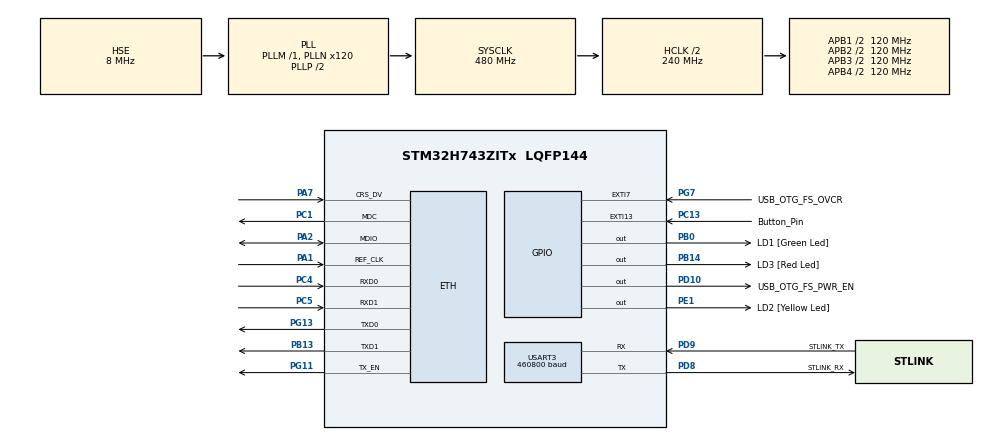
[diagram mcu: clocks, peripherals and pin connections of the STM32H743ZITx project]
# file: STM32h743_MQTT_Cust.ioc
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CORTEX_M7.AccessPermission-Cortex_Memory_Protection_Unit_Region0_Settings=MPU_REGION_FULL_ACCESS
CORTEX_M7.BaseAddress-Cortex_Memory_Protection_Unit_Region0_Settings=0x30000000
CORTEX_M7.CPU_DCache=Enabled
CORTEX_M7.CPU_ICache=Enabled
CORTEX_M7.DisableExec-Cortex_Memory_Protection_Unit_Region0_Settings=MPU_INSTRUCTION_ACCESS_DISABLE
CORTEX_M7.Enable-Cortex_Memory_Protection_Unit_Region0_Settings=MPU_REGION_ENABLE
CORTEX_M7.IsShareable-Cortex_Memory_Protection_Unit_Region0_Settings=MPU_ACCESS_SHAREABLE
CORTEX_M7.MPU_Control=MPU_PRIVILEGED_DEFAULT
CORTEX_M7.Size-Cortex_Memory_Protection_Unit_Region0_Settings=MPU_REGION_SIZE_32KB
CORTEX_M7.TypeExtField-Cortex_Memory_Protection_Unit_Region0_Settings=MPU_TEX_LEVEL1
ETH.MACAddr=00\:80\:E1\:00\:00\:22
ETH.MediaInterface=HAL_ETH_RMII_MODE
ETH.RxBuffAddress=0x30000200
ETH.RxDescAddress=0x30000000
ETH.TxDescAddress=0x30000080
LWIP.BSP.number=1
LWIP.GATEWAY_ADDRESS=192.168.000.001
LWIP.IP_ADDRESS=192.168.000.153
LWIP.LWIP_ALTCP=0
LWIP.LWIP_ALTCP_TLS=0
LWIP.LWIP_DHCP=0
LWIP.LWIP_RAM_HEAP_POINTER=0x30002000
LWIP.MEMP_NUM_SYS_TIMEOUT=4
LWIP.MEMP_NUM_TCP_PCB=5
LWIP.MEM_SIZE=10*1024
LWIP.NETMASK_ADDRESS=255.255.255.000
LWIP.Version=v2.1.2_Cube
LWIP0.BSP.STBoard=false
LWIP0.BSP.api=BSP_COMPONENT_DRIVER
LWIP0.BSP.component=LAN8742
LWIP0.BSP.i2caddr=0
LWIP0.BSP.instance=LAN8742
LWIP0.BSP.name=Driver_PHY
LWIP0.BSP.solution=LAN8742
Mcu.Family=STM32H7
Mcu.Name=STM32H743ZITx
Mcu.Package=LQFP144
NVIC.ETH_IRQn=true\:0\:0\:false\:false\:true\:true\:true
NVIC.EXTI15_10_IRQn=true\:0\:0\:false\:false\:true\:true\:true
NVIC.PriorityGroup=NVIC_PRIORITYGROUP_4
NVIC.TIM2_IRQn=true\:0\:0\:false\:false\:true\:true\:true
NVIC.TIM3_IRQn=true\:0\:0\:false\:false\:true\:true\:true
NVIC.TIM4_IRQn=true\:0\:0\:false\:false\:true\:true\:true
NVIC.TIM5_IRQn=true\:0\:0\:false\:false\:true\:true\:true
PA1.GPIO_Speed=GPIO_SPEED_FREQ_VERY_HIGH
PA1.Mode=RMII
PA1.Signal=ETH_REF_CLK
PA11.Signal=USB_OTG_FS_DM
PA12.Signal=USB_OTG_FS_DP
PA2.GPIO_Speed=GPIO_SPEED_FREQ_VERY_HIGH
PA2.Mode=RMII
PA2.Signal=ETH_MDIO
PA7.GPIO_Speed=GPIO_SPEED_FREQ_VERY_HIGH
PA7.Mode=RMII
PA7.Signal=ETH_CRS_DV
PA8.Signal=USB_OTG_FS_SOF
PA9.Signal=USB_OTG_FS_VBUS
PB0.GPIO_Label=LD1 [Green Led]
PB0.Signal=GPIO_Output
PB13.GPIO_Speed=GPIO_SPEED_FREQ_VERY_HIGH
PB13.Mode=RMII
PB13.Signal=ETH_TXD1
PB14.GPIO_Label=LD3 [Red Led]
PB14.Signal=GPIO_Output
PC1.Mode=RMII
PC1.Signal=ETH_MDC
PC13.GPIO_Label=Button_Pin
PC13.Signal=GPXTI13
PC14-OSC32_IN\ (OSC32_IN).Signal=RCC_OSC32_IN
PC15-OSC32_OUT\ (OSC32_OUT).Signal=RCC_OSC32_OUT
PC4.GPIO_Speed=GPIO_SPEED_FREQ_VERY_HIGH
PC4.Mode=RMII
PC4.Signal=ETH_RXD0
PC5.GPIO_Speed=GPIO_SPEED_FREQ_VERY_HIGH
PC5.Mode=RMII
PC5.Signal=ETH_RXD1
PD10.GPIO_Label=USB_OTG_FS_PWR_EN
PD10.Signal=GPIO_Output
PD8.GPIO_Label=STLINK_RX
PD8.Mode=Asynchronous
PD8.Signal=USART3_TX
PD9.GPIO_Label=STLINK_TX
PD9.Mode=Asynchronous
PD9.Signal=USART3_RX
PE1.GPIO_Label=LD2 [Yellow Led]
PE1.Signal=GPIO_Output
PG11.GPIO_Speed=GPIO_SPEED_FREQ_VERY_HIGH
PG11.Mode=RMII
PG11.Signal=ETH_TX_EN
PG13.GPIO_Speed=GPIO_SPEED_FREQ_VERY_HIGH
PG13.Mode=RMII
PG13.Signal=ETH_TXD0
PG7.GPIO_Label=USB_OTG_FS_OVCR
PG7.Signal=GPXTI7
PH0-OSC_IN\ (PH0).Mode=HSE-External-Oscillator
PH0-OSC_IN\ (PH0).Signal=RCC_OSC_IN
PH1-OSC_OUT\ (PH1).Mode=HSE-External-Oscillator
PH1-OSC_OUT\ (PH1).Signal=RCC_OSC_OUT
ProjectManager.HeapSize=0x200
ProjectManager.StackSize=0x400
ProjectManager.TargetToolchain=STM32CubeIDE
RCC.ADCCLockSelection=RCC_ADCCLKSOURCE_PLL2
RCC.ADCFreq_Value=16125000
RCC.APB1Freq_Value=120000000
RCC.APB2Freq_Value=120000000
RCC.APB3Freq_Value=120000000
RCC.APB4Freq_Value=120000000
RCC.CECCLockSelection=RCC_CECCLKSOURCE_LSI
RCC.CKPERSourceSelection=RCC_CLKPSOURCE_HSI
RCC.CSI_VALUE=4000000
RCC.CortexFreq_Value=480000000
RCC.Cortex_DivARG=SystemCoreClock/1000
RCC.D1PPRE=RCC_APB3_DIV2
RCC.D2PPRE1=RCC_APB1_DIV2
RCC.D2PPRE2=RCC_APB2_DIV2
RCC.D3PPRE=RCC_APB4_DIV2
RCC.DFSDMCLockSelection=RCC_DFSDM1CLKSOURCE_D2PCLK1
RCC.DIVM1=1
RCC.DIVN1=120
RCC.DSICLockSelection=RCC_DSICLKSOURCE_PHY
RCC.DSIPHY_Div=8
RCC.DSITX_Div=4
RCC.DSI_PHY_VALUE=12288000
RCC.EXTERNAL_CLOCK_VALUE=12288000
RCC.FDCANCLockSelection=RCC_FDCANCLKSOURCE_PLL
RCC.FMCCLockSelection=RCC_FMCCLKSOURCE_D1HCLK
RCC.HCLKFreq_Value=240000000
RCC.HPRE=RCC_HCLK_DIV2
RCC.HSE_VALUE=8000000
RCC.HSI_VALUE=64000000
RCC.I2C123CLockSelection=RCC_I2C123CLKSOURCE_D2PCLK1
RCC.I2C4CLockSelection=RCC_I2C4CLKSOURCE_D3PCLK1
RCC.LPTIM1CLockSelection=RCC_LPTIM1CLKSOURCE_D2PCLK1
RCC.LPTIM2CLockSelection=RCC_LPTIM2CLKSOURCE_D3PCLK1
RCC.LPTIM345CLockSelection=RCC_LPTIM345CLKSOURCE_D3PCLK1
RCC.LPUART1CLockSelection=RCC_LPUART1CLKSOURCE_D3PCLK1
RCC.LSE_VALUE=32768
RCC.PLL1_VCI_Range-AdvancedSettings=RCC_PLL1VCIRANGE_0
RCC.PLL2FRACN=0
RCC.PLL2_VCO_SEL-AdvancedSettings=RCC_PLL2VCOWIDE
RCC.PLL3FRACN=0
RCC.PLLDSIDev=2
RCC.PLLDSIIDF=DSI_PLL_IN_DIV1
RCC.PLLDSIMult=2
RCC.PLLDSINDIV=20
RCC.PLLDSIODF=DSI_PLL_OUT_DIV1
RCC.PLLFRACN=0
RCC.PLLSourceVirtual=RCC_PLLSOURCE_HSE
RCC.QSPICLockSelection=RCC_QSPICLKSOURCE_D1HCLK
RCC.RC48_VALUE=48000000
RCC.RCC_MCO1Source=RCC_MCO1SOURCE_HSI
RCC.RCC_MCO2Source=RCC_MCO2SOURCE_SYSCLK
RCC.RNGCLockSelection=RCC_RNGCLKSOURCE_HSI48
RCC.SAI1CLockSelection=RCC_SAI1CLKSOURCE_PLL
RCC.SAI23CLockSelection=RCC_SAI23CLKSOURCE_PLL
RCC.SAI4ACLockSelection=RCC_SAI4ACLKSOURCE_PLL
RCC.SAI4BCLockSelection=RCC_SAI4BCLKSOURCE_PLL
RCC.SPDIFCLockSelection=RCC_SPDIFRXCLKSOURCE_PLL
RCC.SPI123CLockSelection=RCC_SPI123CLKSOURCE_PLL
RCC.SPI6CLockSelection=RCC_SPI6CLKSOURCE_D3PCLK1
RCC.SWPCLockSelection=RCC_SWPMI1CLKSOURCE_D2PCLK1
RCC.SYSCLKFreq_VALUE=480000000
RCC.SYSCLKSource=RCC_SYSCLKSOURCE_PLLCLK
RCC.Spi45ClockSelection=RCC_SPI45CLKSOURCE_D2PCLK1
RCC.SupplySource=PWR_LDO_SUPPLY
RCC.USART16CLockSelection=RCC_USART16CLKSOURCE_D2PCLK2
RCC.USART234578CLockSelection=RCC_USART234578CLKSOURCE_D2PCLK1
RCC.USBCLockSelection=RCC_USBCLKSOURCE_PLL
RCC.USBFreq_Value=480000000
TIM2.Period=10000-1
TIM2.Prescaler=24000-1
TIM3.Period=10000-1
TIM3.Prescaler=24000-1
TIM4.Period=10000-1
TIM4.Prescaler=24000-1
TIM5.Period=10000-1
TIM5.Prescaler=24000-1
USART3.BaudRate=460800
USART3.VirtualMode-Asynchronous=VM_ASYNC
VP_LWIP_VS_Enabled.Mode=Enabled
VP_TIM2_VS_ClockSourceINT.Mode=Internal
VP_TIM3_VS_ClockSourceINT.Mode=Internal
VP_TIM4_VS_ClockSourceINT.Mode=Internal
VP_TIM5_VS_ClockSourceINT.Mode=Internal
board=NUCLEO-H743ZI2

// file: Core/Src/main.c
/* USER CODE BEGIN Header */
/**
  ******************************************************************************
  * @file           : main.c
  * @brief          : Main program body
  ******************************************************************************
  * @attention
  *
  * <h2><center>&copy; Copyright (c) 2021 STMicroelectronics.
  * All rights reserved.</center></h2>
  *
  * This software component is licensed by ST under BSD 3-Clause license,
  * the "License"; You may not use this file except in compliance with the
  * License. You may obtain a copy of the License at:
  *                        opensource.org/licenses/BSD-3-Clause
  *
  ******************************************************************************
  */
/* USER CODE END Header */
#include "main.h"
#include "lwip.h"

/* USER CODE BEGIN PTD */
extern struct netif gnetif;
/* USER CODE END PTD */

/* USER CODE BEGIN PM */
#include "MQTT_main.h"
/* USER CODE END PM */

TIM_HandleTypeDef htim2;
TIM_HandleTypeDef htim3;
TIM_HandleTypeDef htim4;
TIM_HandleTypeDef htim5;

UART_HandleTypeDef huart3;

void SystemClock_Config(void);
static void MPU_Config(void);
static void MX_GPIO_Init(void);
static void MX_USART3_UART_Init(void);
static void MX_TIM2_Init(void);
static void MX_TIM3_Init(void);
static void MX_TIM4_Init(void);
static void MX_TIM5_Init(void);

int main(void)
{
  /* USER CODE BEGIN 1 */
	uint8_t err;
	uint32_t tickstart;
  /* USER CODE END 1 */

  /* MPU Configuration--------------------------------------------------------*/
  MPU_Config();

  /* Enable I-Cache---------------------------------------------------------*/
  SCB_EnableICache();

  /* Enable D-Cache---------------------------------------------------------*/
  SCB_EnableDCache();

  /* MCU Configuration--------------------------------------------------------*/

  /* Reset of all peripherals, Initializes the Flash interface and the Systick. */
  HAL_Init();

  /* Configure the system clock */
  SystemClock_Config();

  /* Initialize all configured peripherals */
  MX_GPIO_Init();
  MX_USART3_UART_Init();
  MX_LWIP_Init();
  MX_TIM2_Init();
  MX_TIM3_Init();
  MX_TIM4_Init();
  MX_TIM5_Init();
  /* USER CODE BEGIN 2 */
  HAL_Delay(300);
  HAL_TIM_Base_Start_IT(&htim2);
  HAL_TIM_Base_Start_IT(&htim3);
  HAL_TIM_Base_Start_IT(&htim4);
  HAL_TIM_Base_Start_IT(&htim5);
  err = Mqtt_Do_Connect();
  tickstart = HAL_GetTick();
  while(err != ERR_OK)
  {
	  if((HAL_GetTick() - tickstart ) > 5000)
	  {
		  PRINT_MESG_UART("Could not connect. Trying to connect again...");
		  err = Mqtt_Do_Connect();
		  tickstart = HAL_GetTick();
	  }
	  MX_LWIP_Process();
  }

  /* USER CODE END 2 */

  /* Infinite loop */
  while (1)
  {

    /* USER CODE BEGIN 3 */
	  MX_LWIP_Process();
  }
  /* USER CODE END 3 */
}

void SystemClock_Config(void)
{
  RCC_OscInitTypeDef RCC_OscInitStruct = {0};
  RCC_ClkInitTypeDef RCC_ClkInitStruct = {0};

  /** Supply configuration update enable
  */
  HAL_PWREx_ConfigSupply(PWR_LDO_SUPPLY);
  /** Configure the main internal regulator output voltage
  */
  __HAL_PWR_VOLTAGESCALING_CONFIG(PWR_REGULATOR_VOLTAGE_SCALE0);

  while(!__HAL_PWR_GET_FLAG(PWR_FLAG_VOSRDY)) {}
  /** Initializes the RCC Oscillators according to the specified parameters
  * in the RCC_OscInitTypeDef structure.
  */
  RCC_OscInitStruct.OscillatorType = RCC_OSCILLATORTYPE_HSE;
  RCC_OscInitStruct.HSEState = RCC_HSE_ON;
  RCC_OscInitStruct.PLL.PLLState = RCC_PLL_ON;
  RCC_OscInitStruct.PLL.PLLSource = RCC_PLLSOURCE_HSE;
  RCC_OscInitStruct.PLL.PLLM = 1;
  RCC_OscInitStruct.PLL.PLLN = 120;
  RCC_OscInitStruct.PLL.PLLP = 2;
  RCC_OscInitStruct.PLL.PLLQ = 2;
  RCC_OscInitStruct.PLL.PLLR = 2;
  RCC_OscInitStruct.PLL.PLLRGE = RCC_PLL1VCIRANGE_3;
  RCC_OscInitStruct.PLL.PLLVCOSEL = RCC_PLL1VCOWIDE;
  RCC_OscInitStruct.PLL.PLLFRACN = 0;
  if (HAL_RCC_OscConfig(&RCC_OscInitStruct) != HAL_OK)
  {
    Error_Handler();
  }
  /** Initializes the CPU, AHB and APB buses clocks
  */
  RCC_ClkInitStruct.ClockType = RCC_CLOCKTYPE_HCLK|RCC_CLOCKTYPE_SYSCLK
                              |RCC_CLOCKTYPE_PCLK1|RCC_CLOCKTYPE_PCLK2
                              |RCC_CLOCKTYPE_D3PCLK1|RCC_CLOCKTYPE_D1PCLK1;
  RCC_ClkInitStruct.SYSCLKSource = RCC_SYSCLKSOURCE_PLLCLK;
  RCC_ClkInitStruct.SYSCLKDivider = RCC_SYSCLK_DIV1;
  RCC_ClkInitStruct.AHBCLKDivider = RCC_HCLK_DIV2;
  RCC_ClkInitStruct.APB3CLKDivider = RCC_APB3_DIV2;
  RCC_ClkInitStruct.APB1CLKDivider = RCC_APB1_DIV2;
  RCC_ClkInitStruct.APB2CLKDivider = RCC_APB2_DIV2;
  RCC_ClkInitStruct.APB4CLKDivider = RCC_APB4_DIV2;

  if (HAL_RCC_ClockConfig(&RCC_ClkInitStruct, FLASH_LATENCY_4) != HAL_OK)
  {
    Error_Handler();
  }
}

static void MX_TIM2_Init(void)
{

  TIM_ClockConfigTypeDef sClockSourceConfig = {0};
  TIM_MasterConfigTypeDef sMasterConfig = {0};

  htim2.Instance = TIM2;
  htim2.Init.Prescaler = 24000-1;
  htim2.Init.CounterMode = TIM_COUNTERMODE_UP;
  htim2.Init.Period = 10000-1;
  htim2.Init.ClockDivision = TIM_CLOCKDIVISION_DIV1;
  htim2.Init.AutoReloadPreload = TIM_AUTORELOAD_PRELOAD_DISABLE;
  if (HAL_TIM_Base_Init(&htim2) != HAL_OK)
  {
    Error_Handler();
  }
  sClockSourceConfig.ClockSource = TIM_CLOCKSOURCE_INTERNAL;
  if (HAL_TIM_ConfigClockSource(&htim2, &sClockSourceConfig) != HAL_OK)
  {
    Error_Handler();
  }
  sMasterConfig.MasterOutputTrigger = TIM_TRGO_RESET;
  sMasterConfig.MasterSlaveMode = TIM_MASTERSLAVEMODE_DISABLE;
  if (HAL_TIMEx_MasterConfigSynchronization(&htim2, &sMasterConfig) != HAL_OK)
  {
    Error_Handler();
  }

}

static void MX_TIM3_Init(void)
{

  TIM_ClockConfigTypeDef sClockSourceConfig = {0};
  TIM_MasterConfigTypeDef sMasterConfig = {0};

  htim3.Instance = TIM3;
  htim3.Init.Prescaler = 24000-1;
  htim3.Init.CounterMode = TIM_COUNTERMODE_UP;
  htim3.Init.Period = 10000-1;
  htim3.Init.ClockDivision = TIM_CLOCKDIVISION_DIV1;
  htim3.Init.AutoReloadPreload = TIM_AUTORELOAD_PRELOAD_DISABLE;
  if (HAL_TIM_Base_Init(&htim3) != HAL_OK)
  {
    Error_Handler();
  }
  sClockSourceConfig.ClockSource = TIM_CLOCKSOURCE_INTERNAL;
  if (HAL_TIM_ConfigClockSource(&htim3, &sClockSourceConfig) != HAL_OK)
  {
    Error_Handler();
  }
  sMasterConfig.MasterOutputTrigger = TIM_TRGO_RESET;
  sMasterConfig.MasterSlaveMode = TIM_MASTERSLAVEMODE_DISABLE;
  if (HAL_TIMEx_MasterConfigSynchronization(&htim3, &sMasterConfig) != HAL_OK)
  {
    Error_Handler();
  }

}

static void MX_TIM4_Init(void)
{

  TIM_ClockConfigTypeDef sClockSourceConfig = {0};
  TIM_MasterConfigTypeDef sMasterConfig = {0};

  htim4.Instance = TIM4;
  htim4.Init.Prescaler = 24000-1;
  htim4.Init.CounterMode = TIM_COUNTERMODE_UP;
  htim4.Init.Period = 10000-1;
  htim4.Init.ClockDivision = TIM_CLOCKDIVISION_DIV1;
  htim4.Init.AutoReloadPreload = TIM_AUTORELOAD_PRELOAD_DISABLE;
  if (HAL_TIM_Base_Init(&htim4) != HAL_OK)
  {
    Error_Handler();
  }
  sClockSourceConfig.ClockSource = TIM_CLOCKSOURCE_INTERNAL;
  if (HAL_TIM_ConfigClockSource(&htim4, &sClockSourceConfig) != HAL_OK)
  {
    Error_Handler();
  }
  sMasterConfig.MasterOutputTrigger = TIM_TRGO_RESET;
  sMasterConfig.MasterSlaveMode = TIM_MASTERSLAVEMODE_DISABLE;
  if (HAL_TIMEx_MasterConfigSynchronization(&htim4, &sMasterConfig) != HAL_OK)
  {
    Error_Handler();
  }

}

static void MX_TIM5_Init(void)
{

  TIM_ClockConfigTypeDef sClockSourceConfig = {0};
  TIM_MasterConfigTypeDef sMasterConfig = {0};

  htim5.Instance = TIM5;
  htim5.Init.Prescaler = 24000-1;
  htim5.Init.CounterMode = TIM_COUNTERMODE_UP;
  htim5.Init.Period = 10000-1;
  htim5.Init.ClockDivision = TIM_CLOCKDIVISION_DIV1;
  htim5.Init.AutoReloadPreload = TIM_AUTORELOAD_PRELOAD_DISABLE;
  if (HAL_TIM_Base_Init(&htim5) != HAL_OK)
  {
    Error_Handler();
  }
  sClockSourceConfig.ClockSource = TIM_CLOCKSOURCE_INTERNAL;
  if (HAL_TIM_ConfigClockSource(&htim5, &sClockSourceConfig) != HAL_OK)
  {
    Error_Handler();
  }
  sMasterConfig.MasterOutputTrigger = TIM_TRGO_RESET;
  sMasterConfig.MasterSlaveMode = TIM_MASTERSLAVEMODE_DISABLE;
  if (HAL_TIMEx_MasterConfigSynchronization(&htim5, &sMasterConfig) != HAL_OK)
  {
    Error_Handler();
  }

}

static void MX_USART3_UART_Init(void)
{

  huart3.Instance = USART3;
  huart3.Init.BaudRate = 460800;
  huart3.Init.WordLength = UART_WORDLENGTH_8B;
  huart3.Init.StopBits = UART_STOPBITS_1;
  huart3.Init.Parity = UART_PARITY_NONE;
  huart3.Init.Mode = UART_MODE_TX_RX;
  huart3.Init.HwFlowCtl = UART_HWCONTROL_NONE;
  huart3.Init.OverSampling = UART_OVERSAMPLING_16;
  huart3.Init.OneBitSampling = UART_ONE_BIT_SAMPLE_DISABLE;
  huart3.Init.ClockPrescaler = UART_PRESCALER_DIV1;
  huart3.AdvancedInit.AdvFeatureInit = UART_ADVFEATURE_NO_INIT;
  if (HAL_UART_Init(&huart3) != HAL_OK)
  {
    Error_Handler();
  }
  if (HAL_UARTEx_SetTxFifoThreshold(&huart3, UART_TXFIFO_THRESHOLD_1_8) != HAL_OK)
  {
    Error_Handler();
  }
  if (HAL_UARTEx_SetRxFifoThreshold(&huart3, UART_RXFIFO_THRESHOLD_1_8) != HAL_OK)
  {
    Error_Handler();
  }
  if (HAL_UARTEx_DisableFifoMode(&huart3) != HAL_OK)
  {
    Error_Handler();
  }

}

static void MX_GPIO_Init(void)
{
  GPIO_InitTypeDef GPIO_InitStruct = {0};

  /* GPIO Ports Clock Enable */
  __HAL_RCC_GPIOC_CLK_ENABLE();
  __HAL_RCC_GPIOH_CLK_ENABLE();
  __HAL_RCC_GPIOA_CLK_ENABLE();
  __HAL_RCC_GPIOB_CLK_ENABLE();
  __HAL_RCC_GPIOD_CLK_ENABLE();
  __HAL_RCC_GPIOG_CLK_ENABLE();
  __HAL_RCC_GPIOE_CLK_ENABLE();

  /*Configure GPIO pin Output Level */
  HAL_GPIO_WritePin(GPIOB, LD1_Pin|LD3_Pin, GPIO_PIN_RESET);

  /*Configure GPIO pin Output Level */
  HAL_GPIO_WritePin(USB_OTG_FS_PWR_EN_GPIO_Port, USB_OTG_FS_PWR_EN_Pin, GPIO_PIN_RESET);

  /*Configure GPIO pin Output Level */
  HAL_GPIO_WritePin(LD2_GPIO_Port, LD2_Pin, GPIO_PIN_RESET);

  /*Configure GPIO pin : Button_Pin_Pin */
  GPIO_InitStruct.Pin = Button_Pin_Pin;
  GPIO_InitStruct.Mode = GPIO_MODE_IT_RISING;
  GPIO_InitStruct.Pull = GPIO_NOPULL;
  HAL_GPIO_Init(Button_Pin_GPIO_Port, &GPIO_InitStruct);

  /*Configure GPIO pins : LD1_Pin LD3_Pin */
  GPIO_InitStruct.Pin = LD1_Pin|LD3_Pin;
  GPIO_InitStruct.Mode = GPIO_MODE_OUTPUT_PP;
  GPIO_InitStruct.Pull = GPIO_NOPULL;
  GPIO_InitStruct.Speed = GPIO_SPEED_FREQ_LOW;
  HAL_GPIO_Init(GPIOB, &GPIO_InitStruct);

  /*Configure GPIO pin : USB_OTG_FS_PWR_EN_Pin */
  GPIO_InitStruct.Pin = USB_OTG_FS_PWR_EN_Pin;
  GPIO_InitStruct.Mode = GPIO_MODE_OUTPUT_PP;
  GPIO_InitStruct.Pull = GPIO_NOPULL;
  GPIO_InitStruct.Speed = GPIO_SPEED_FREQ_LOW;
  HAL_GPIO_Init(USB_OTG_FS_PWR_EN_GPIO_Port, &GPIO_InitStruct);

  /*Configure GPIO pin : USB_OTG_FS_OVCR_Pin */
  GPIO_InitStruct.Pin = USB_OTG_FS_OVCR_Pin;
  GPIO_InitStruct.Mode = GPIO_MODE_IT_RISING;
  GPIO_InitStruct.Pull = GPIO_NOPULL;
  HAL_GPIO_Init(USB_OTG_FS_OVCR_GPIO_Port, &GPIO_InitStruct);

  /*Configure GPIO pins : PA8 PA11 PA12 */
  GPIO_InitStruct.Pin = GPIO_PIN_8|GPIO_PIN_11|GPIO_PIN_12;
  GPIO_InitStruct.Mode = GPIO_MODE_AF_PP;
  GPIO_InitStruct.Pull = GPIO_NOPULL;
  GPIO_InitStruct.Speed = GPIO_SPEED_FREQ_LOW;
  GPIO_InitStruct.Alternate = GPIO_AF10_OTG1_FS;
  HAL_GPIO_Init(GPIOA, &GPIO_InitStruct);

  /*Configure GPIO pin : LD2_Pin */
  GPIO_InitStruct.Pin = LD2_Pin;
  GPIO_InitStruct.Mode = GPIO_MODE_OUTPUT_PP;
  GPIO_InitStruct.Pull = GPIO_NOPULL;
  GPIO_InitStruct.Speed = GPIO_SPEED_FREQ_LOW;
  HAL_GPIO_Init(LD2_GPIO_Port, &GPIO_InitStruct);

  /* EXTI interrupt init*/
  HAL_NVIC_SetPriority(EXTI15_10_IRQn, 0, 0);
  HAL_NVIC_EnableIRQ(EXTI15_10_IRQn);

}

/* USER CODE BEGIN 4 */
void HAL_TIM_PeriodElapsedCallback(TIM_HandleTypeDef *htim)
{
	Mqtt_Timer_ISR_Handler(htim);
}

void HAL_GPIO_EXTI_Callback(uint16_t GPIO_Pin)
{
	Mqtt_Ext_Int_ISR_Handler(GPIO_Pin);
}

#define PRINT  1
void PRINT_MESG_UART(const char * format, ... )
{
#if PRINT
	va_list ap;
	uint8_t buffer [128];
	unsigned int n;
	va_start(ap, format);
	n = vsnprintf ((char*)buffer, (unsigned int)128, format, ap);
	va_end(ap);
	if(HAL_UART_Transmit(&huart3, (uint8_t*)buffer, n, 300) != HAL_OK) {
		Error_Handler();
	}
#endif
}
/* USER CODE END 4 */

/* MPU Configuration */

void MPU_Config(void)
{
  MPU_Region_InitTypeDef MPU_InitStruct = {0};

  /* Disables the MPU */
  HAL_MPU_Disable();
  /** Initializes and configures the Region and the memory to be protected
  */
  MPU_InitStruct.Enable = MPU_REGION_ENABLE;
  MPU_InitStruct.Number = MPU_REGION_NUMBER0;
  MPU_InitStruct.BaseAddress = 0x30000000;
  MPU_InitStruct.Size = MPU_REGION_SIZE_32KB;
  MPU_InitStruct.SubRegionDisable = 0x0;
  MPU_InitStruct.TypeExtField = MPU_TEX_LEVEL1;
  MPU_InitStruct.AccessPermission = MPU_REGION_FULL_ACCESS;
  MPU_InitStruct.DisableExec = MPU_INSTRUCTION_ACCESS_DISABLE;
  MPU_InitStruct.IsShareable = MPU_ACCESS_SHAREABLE;
  MPU_InitStruct.IsCacheable = MPU_ACCESS_NOT_CACHEABLE;
  MPU_InitStruct.IsBufferable = MPU_ACCESS_NOT_BUFFERABLE;

  HAL_MPU_ConfigRegion(&MPU_InitStruct);
  /* Enables the MPU */
  HAL_MPU_Enable(MPU_PRIVILEGED_DEFAULT);

}

void Error_Handler(void)
{
  __disable_irq();
  while (1)
  {
  }
}

/************************ (C) COPYRIGHT STMicroelectronics *****END OF FILE****/
